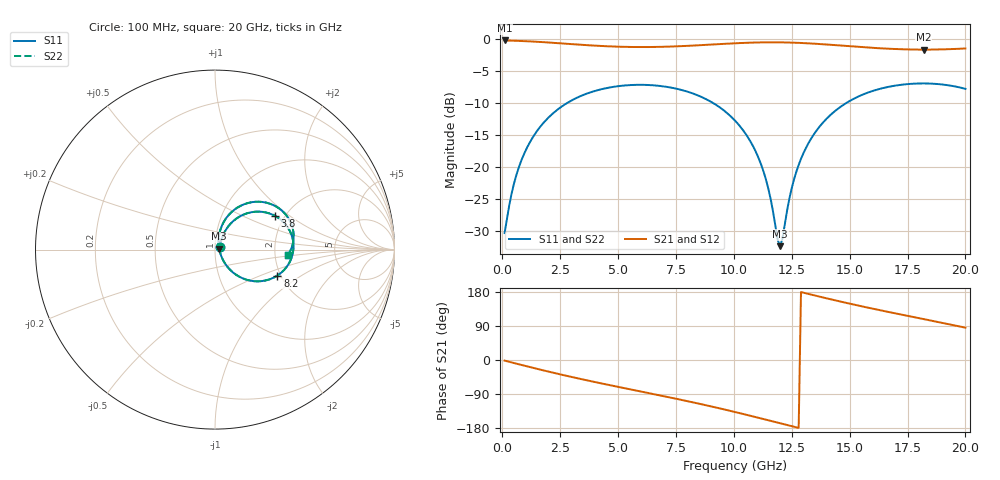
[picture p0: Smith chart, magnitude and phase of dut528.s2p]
! Touchstone file exported from HFSS 2026.1.0
!  File:  C:/ffzhzh/LocalFiles/Ansys_Project_Files/temp_train_TSV_RDL_528_1783111762_53076.aedt
!  Generated:  04:58:16 AM Jul  4, 2026
!  Design:  TSV_RDL
!  Project:  temp_train_TSV_RDL_528_1783111762_53076
! Variables:
!  h_bsmrdl = 4.9um
!  h_ox = 20um
!  h_rdl = 5um
!  h_sub = 77.36um
!  h_tmrdl = 4.45um
!  h_tsv = 77.36um
!  h_via = 3um
!  l_bsmrdl = 439.99um
!  l_sub = 4202.06um
!  l_tmrdl = 603.58um
!  m_sub = 200um
!  pitch = 33.84um
!  r_tsv = 12.79um
!  s_tmrdl = 10um
!  w_bsmrdl = 12.34um
!  w_sub = 500um
!  w_tmrdl = 10.25um
!  x_tsv_center1 = 608.705um
!  x_tsv_center2 = 1061.035um
!  x_tsv_center3 = 1674.865um
!  x_tsv_center4 = 2127.195um
!  x_tsv_center5 = 2741.025um
!  x_tsv_center6 = 3193.355um
# GHz S MA R 50.000000
! Terminal data exported
! Port[1] = TM_RDL1_1_T1
! Port[2] = TM_RDL5_1_T1
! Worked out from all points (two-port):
!   200 points, 100 MHz to 20 GHz, reference 50 ohm
!   highest |S21| = -0.24 dB at 100 MHz (marker M1); lowest = -1.7 dB at 18.2 GHz (marker M2)
!   |S21| within 3 dB of the highest: start of sweep to end of sweep
!   lowest |S11| = -32.4 dB at 12 GHz (marker M3), VSWR 1.05, Z = 52.4 + j0.544 ohm
!   |S11| at or under -10 dB: start of sweep to 2.809 GHz; 9.096 GHz to 14.86 GHz (5.768 GHz wide, 48.1 % of centre)
!   |S22| runs from -32.4 to -7.0 dB; largest |S21 - S12| = 1.6e-14
!   S11 on the Smith chart (normalised r, x): 100 MHz: 1.06, +0.03; 3.8 GHz: 1.77, +0.79; 8.2 GHz: 1.92, -0.65; 20 GHz: 2.36, -0.17
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0.1  0.03037 25.9  0.973 -1.6  0.973 -1.6  0.03037 25.9
! Gamma 0 0 0 0
! Port Impedance 50 0 50 0
0.4  0.06154 55.8  0.9699 -6.4  0.9699 -6.4  0.06154 55.8
0.6  0.08541 60.2  0.9671 -9.5  0.9671 -9.5  0.08541 60.2
1.2  0.1566 59.8  0.9569 -18.8  0.9569 -18.8  0.1566 59.8
2.2  0.263 49.4  0.9327 -33.6  0.9327 -33.6  0.263 49.4
3.5  0.3648 33.4  0.8977 -51.6  0.8977 -51.6  0.3648 33.4
3.8  0.382 29.8  0.8906 -55.6  0.8906 -55.6  0.382 29.8
5.3  0.433 11.8  0.8669 -74.6  0.8669 -74.6  0.433 11.8
6.8  0.4293 -5.8  0.8669 -93.3  0.8669 -93.3  0.4293 -5.8
8.2  0.3764 -22.6  0.8865 -111.3  0.8865 -111.3  0.3764 -22.6
10.1  0.2249 -45.8  0.9257 -137.9  0.9257 -137.9  0.2249 -45.8
10.7  0.1599 -51.9  0.935 -146.9  0.935 -146.9  0.1599 -51.9
11.2  0.1017 -54.3  0.9398 -154.6  0.9398 -154.6  0.1017 -54.3
11.5  0.06632 -51.2  0.9411 -159.2  0.9411 -159.2  0.06636 -51.2
11.9  0.02665 -14.3  0.9409 -165.4  0.9409 -165.4  0.02669 -14.3
12  0.02399 12.5  0.9404 -166.9  0.9404 -166.9  0.02402 12.4
12.6  0.07992 73.8  0.9347 -176.2  0.9347 -176.2  0.0799 73.7
13.4  0.1733 71.6  0.9199 171.7  0.9199 171.7  0.1732 71.5
14.8  0.3111 55.7  0.8827 151.5  0.8827 151.5  0.3111 55.7
16.7  0.423 33.2  0.838 126.5  0.838 126.5  0.423 33.2
18.2  0.449 16.2  0.8252 107.9  0.8252 107.9  0.449 16.2
20  0.407 -4.3  0.8423 85.3  0.8423 85.3  0.4071 -4.3
